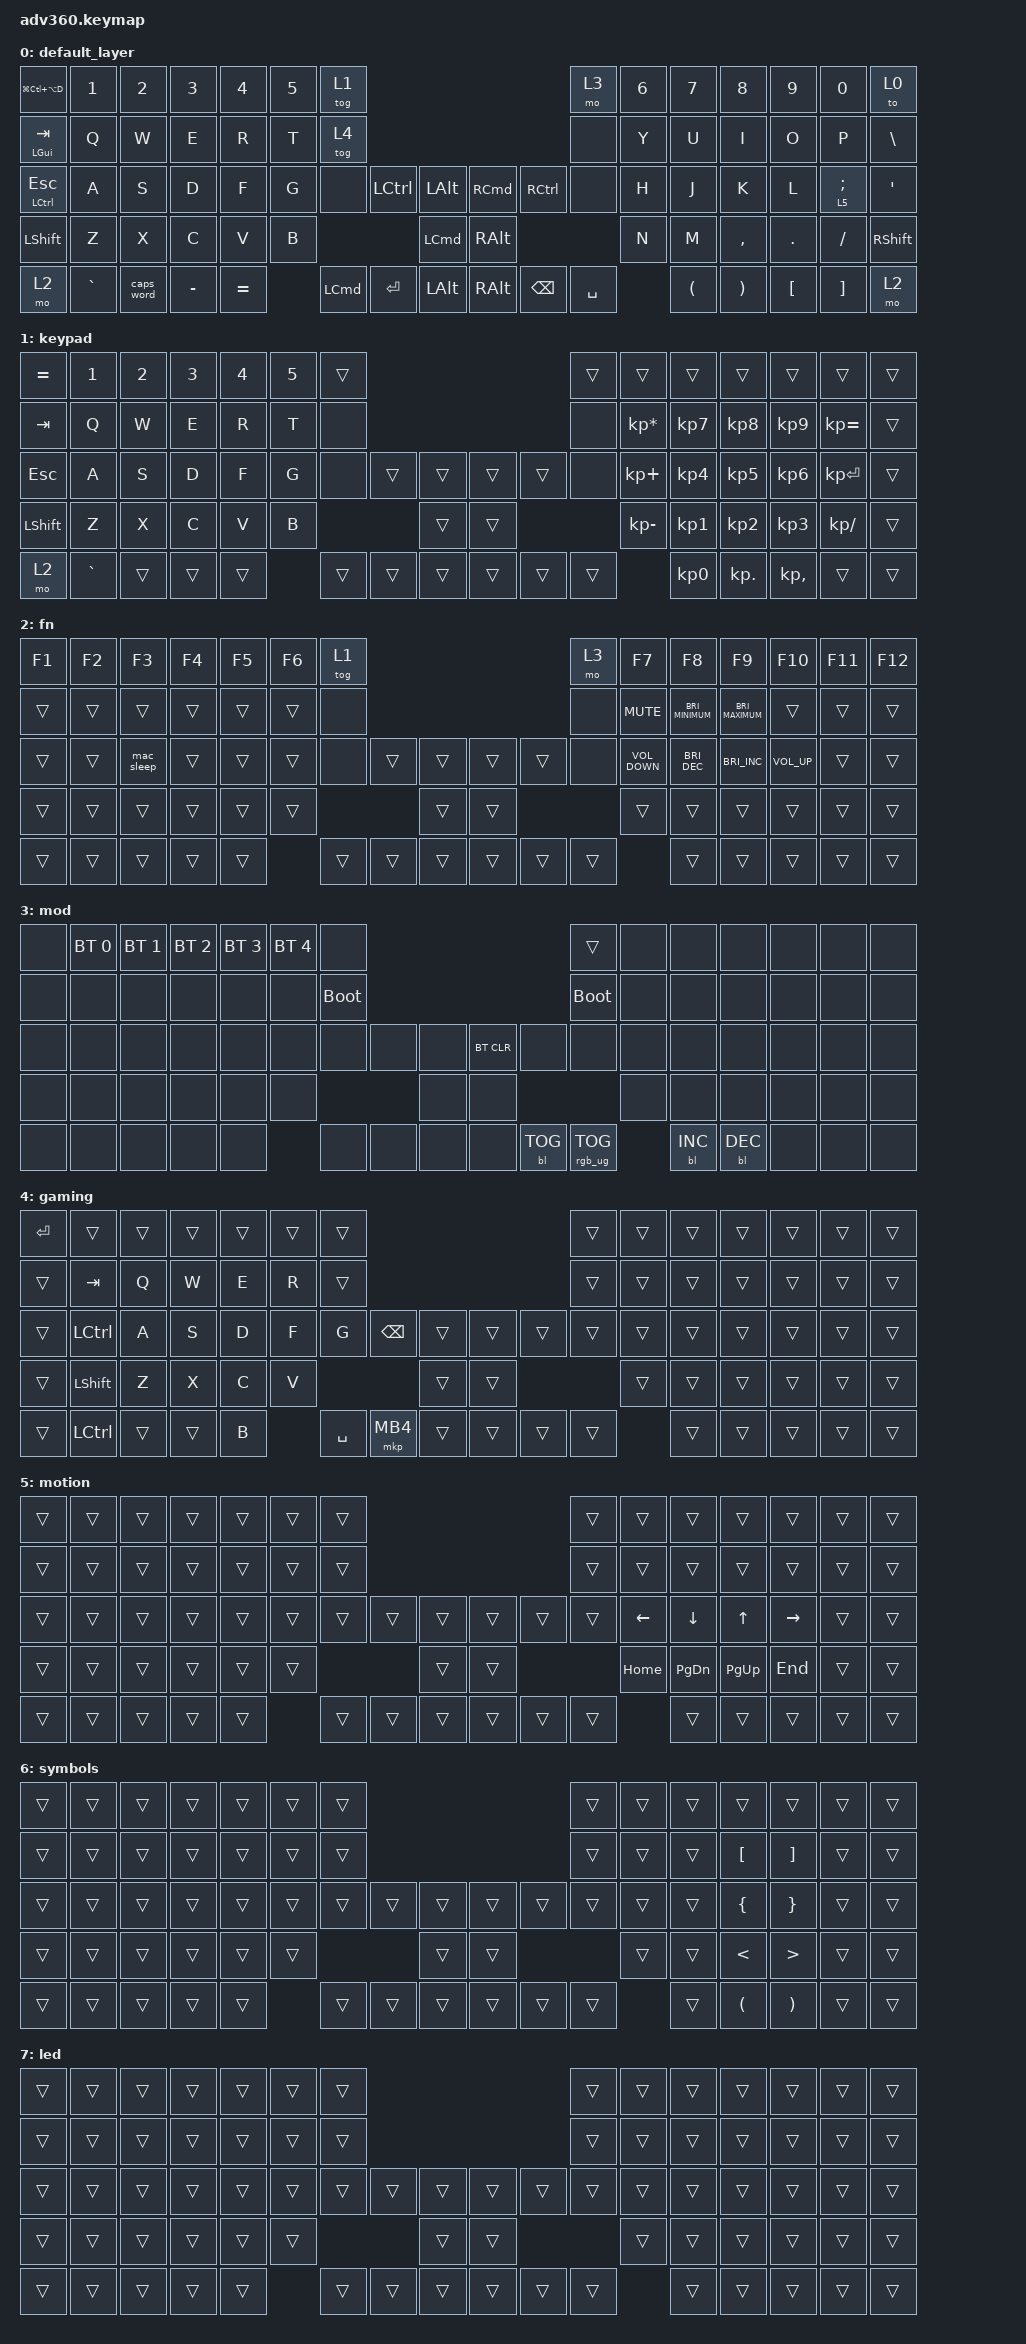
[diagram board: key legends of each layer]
#include <behaviors.dtsi>
#include <dt-bindings/zmk/backlight.h>
#include <dt-bindings/zmk/bt.h>
#include <dt-bindings/zmk/keys.h>
#include <dt-bindings/zmk/pointing.h>
#include <dt-bindings/zmk/rgb.h>

/ {
    combos {
        compatible = "zmk,combos";

        symbol_layer {
            bindings = <&mo 6>;
            key-positions = <69 70 46>;
        };

        kp_layer {
            bindings = <&mo 1>;
            key-positions = <70 69>;
        };
    };

    behaviors {
        mo_kp: mo_kp {
            compatible = "zmk,behavior-hold-tap";
            label = "MO_KP";
            bindings = <&mo>, <&kp>;

            #binding-cells = <2>;
            tapping-term-ms = <500>;
            flavor = "hold-preferred";
        };

        kp_kp: kp_kp {
            compatible = "zmk,behavior-hold-tap";
            label = "KP_KP";
            bindings = <&kp>, <&kp>;

            #binding-cells = <2>;
            tapping-term-ms = <400>;
        };
    };

    macros {
        mac_sleep: sleep_combo {
            compatible = "zmk,behavior-macro";
            #binding-cells = <0>;
            bindings = <&kp LA(LG(K_POWER))>;
            label = "SLEEP_COMBO";
        };
    };

    keymap {
        compatible = "zmk,keymap";

        default_layer {
            bindings = <
&kp LG(LC(LA(D)))        &kp N1     &kp N2      &kp N3     &kp N4     &kp N5  &tog 1                                                                                          &mo 3      &kp N6  &kp N7                &kp N8                 &kp N9    &kp N0              &to 0
&kp_kp LEFT_GUI TAB      &kp Q      &kp W       &kp E      &kp R      &kp T   &tog 4                                                                                          &none      &kp Y   &kp U                 &kp I                  &kp O     &kp P               &kp BSLH
&mt LEFT_CONTROL ESCAPE  &kp A      &kp S       &kp D      &kp F      &kp G   &none             &kp LEFT_CONTROL  &kp LEFT_ALT          &kp RIGHT_COMMAND  &kp RIGHT_CONTROL  &none      &kp H   &kp J                 &kp K                  &kp L     &mo_kp 5 SEMICOLON  &kp SQT
&kp LSHFT                &kp Z      &kp X       &kp C      &kp V      &kp B                                       &kp LEFT_COMMAND      &kp RIGHT_ALT                                    &kp N   &kp M                 &kp COMMA              &kp DOT   &kp FSLH            &kp RSHFT
&mo 2                    &kp GRAVE  &caps_word  &kp MINUS  &kp EQUAL          &kp LEFT_COMMAND  &kp RET           &kp LEFT_ALT          &kp RIGHT_ALT      &kp BACKSPACE      &kp SPACE          &kp LEFT_PARENTHESIS  &kp RIGHT_PARENTHESIS  &kp LBKT  &kp RBKT            &mo 2
            >;
        };

        keypad {
            bindings = <
&kp EQUAL  &kp N1     &kp N2  &kp N3  &kp N4  &kp N5  &trans                                      &trans  &trans           &trans           &trans      &trans        &trans         &trans
&kp TAB    &kp Q      &kp W   &kp E   &kp R   &kp T   &none                                       &none   &kp KP_MULTIPLY  &kp KP_N7        &kp KP_N8   &kp KP_N9     &kp KP_EQUAL   &trans
&kp ESC    &kp A      &kp S   &kp D   &kp F   &kp G   &none   &trans  &trans      &trans  &trans  &none   &kp KP_PLUS      &kp KP_N4        &kp KP_N5   &kp KP_N6     &kp KP_ENTER   &trans
&kp LSHFT  &kp Z      &kp X   &kp C   &kp V   &kp B                   &trans      &trans                  &kp KP_MINUS     &kp KP_N1        &kp KP_N2   &kp KP_N3     &kp KP_DIVIDE  &trans
&mo 2      &kp GRAVE  &trans  &trans  &trans          &trans  &trans  &trans      &trans  &trans  &trans                   &kp KP_NUMBER_0  &kp KP_DOT  &kp KP_COMMA  &trans         &trans
            >;
        };

        fn {
            bindings = <
&kp F1  &kp F2  &kp F3      &kp F4  &kp F5  &kp F6  &tog 1                                      &mo 3   &kp F7             &kp F8                    &kp F9                    &kp F10          &kp F11  &kp F12
&trans  &trans  &trans      &trans  &trans  &trans  &none                                       &none   &kp C_MUTE         &kp C_BRIGHTNESS_MINIMUM  &kp C_BRIGHTNESS_MAXIMUM  &trans           &trans   &trans
&trans  &trans  &mac_sleep  &trans  &trans  &trans  &none   &trans  &trans      &trans  &trans  &none   &kp C_VOLUME_DOWN  &kp C_BRIGHTNESS_DEC      &kp C_BRIGHTNESS_INC      &kp C_VOLUME_UP  &trans   &trans
&trans  &trans  &trans      &trans  &trans  &trans                  &trans      &trans                  &trans             &trans                    &trans                    &trans           &trans   &trans
&trans  &trans  &trans      &trans  &trans          &trans  &trans  &trans      &trans  &trans  &trans                     &trans                    &trans                    &trans           &trans   &trans
            >;
        };

        mod {
            bindings = <
&none  &bt BT_SEL 0  &bt BT_SEL 1  &bt BT_SEL 2  &bt BT_SEL 3  &bt BT_SEL 4  &none                                                  &trans           &none  &none       &none       &none  &none  &none
&none  &none         &none         &none         &none         &none         &bootloader                                            &bootloader      &none  &none       &none       &none  &none  &none
&none  &none         &none         &none         &none         &none         &none        &none  &none      &bt BT_CLR  &none       &none            &none  &none       &none       &none  &none  &none
&none  &none         &none         &none         &none         &none                             &none      &none                                    &none  &none       &none       &none  &none  &none
&none  &none         &none         &none         &none                       &none        &none  &none      &none       &bl BL_TOG  &rgb_ug RGB_TOG         &bl BL_INC  &bl BL_DEC  &none  &none  &none
            >;
        };

        gaming {
            bindings = <
&kp RETURN  &trans            &trans  &trans  &trans  &trans  &trans                                                &trans  &trans  &trans  &trans  &trans  &trans  &trans
&trans      &kp TAB           &kp Q   &kp W   &kp E   &kp R   &trans                                                &trans  &trans  &trans  &trans  &trans  &trans  &trans
&trans      &kp LEFT_CONTROL  &kp A   &kp S   &kp D   &kp F   &kp G      &kp BACKSPACE  &trans      &trans  &trans  &trans  &trans  &trans  &trans  &trans  &trans  &trans
&trans      &kp LEFT_SHIFT    &kp Z   &kp X   &kp C   &kp V                             &trans      &trans                  &trans  &trans  &trans  &trans  &trans  &trans
&trans      &kp LEFT_CONTROL  &trans  &trans  &kp B           &kp SPACE  &mkp MB4       &trans      &trans  &trans  &trans          &trans  &trans  &trans  &trans  &trans
            >;
        };

        motion {
            bindings = <
&trans  &trans  &trans  &trans  &trans  &trans  &trans                                      &trans  &trans          &trans          &trans        &trans           &trans  &trans
&trans  &trans  &trans  &trans  &trans  &trans  &trans                                      &trans  &trans          &trans          &trans        &trans           &trans  &trans
&trans  &trans  &trans  &trans  &trans  &trans  &trans  &trans  &trans      &trans  &trans  &trans  &kp LEFT_ARROW  &kp DOWN_ARROW  &kp UP_ARROW  &kp RIGHT_ARROW  &trans  &trans
&trans  &trans  &trans  &trans  &trans  &trans                  &trans      &trans                  &kp HOME        &kp PAGE_DOWN   &kp PAGE_UP   &kp END          &trans  &trans
&trans  &trans  &trans  &trans  &trans          &trans  &trans  &trans      &trans  &trans  &trans                  &trans          &trans        &trans           &trans  &trans
            >;
        };

        symbols {
            bindings = <
&trans  &trans  &trans  &trans  &trans  &trans  &trans                                      &trans  &trans  &trans  &trans                &trans                 &trans  &trans
&trans  &trans  &trans  &trans  &trans  &trans  &trans                                      &trans  &trans  &trans  &kp LEFT_BRACKET      &kp RIGHT_BRACKET      &trans  &trans
&trans  &trans  &trans  &trans  &trans  &trans  &trans  &trans  &trans      &trans  &trans  &trans  &trans  &trans  &kp LEFT_BRACE        &kp RIGHT_BRACE        &trans  &trans
&trans  &trans  &trans  &trans  &trans  &trans                  &trans      &trans                  &trans  &trans  &kp LESS_THAN         &kp GREATER_THAN       &trans  &trans
&trans  &trans  &trans  &trans  &trans          &trans  &trans  &trans      &trans  &trans  &trans          &trans  &kp LEFT_PARENTHESIS  &kp RIGHT_PARENTHESIS  &trans  &trans
            >;
        };

        led {
            bindings = <
&trans  &trans  &trans  &trans  &trans  &trans  &trans                                      &trans  &trans  &trans  &trans  &trans  &trans  &trans
&trans  &trans  &trans  &trans  &trans  &trans  &trans                                      &trans  &trans  &trans  &trans  &trans  &trans  &trans
&trans  &trans  &trans  &trans  &trans  &trans  &trans  &trans  &trans      &trans  &trans  &trans  &trans  &trans  &trans  &trans  &trans  &trans
&trans  &trans  &trans  &trans  &trans  &trans                  &trans      &trans                  &trans  &trans  &trans  &trans  &trans  &trans
&trans  &trans  &trans  &trans  &trans          &trans  &trans  &trans      &trans  &trans  &trans          &trans  &trans  &trans  &trans  &trans
            >;
        };
    };

    conditional_layers {
        compatible = "zmk,conditional-layers";

        led_keypad {
            if-layers = <1>;
            then-layer = <7>;
        };
    };
};
